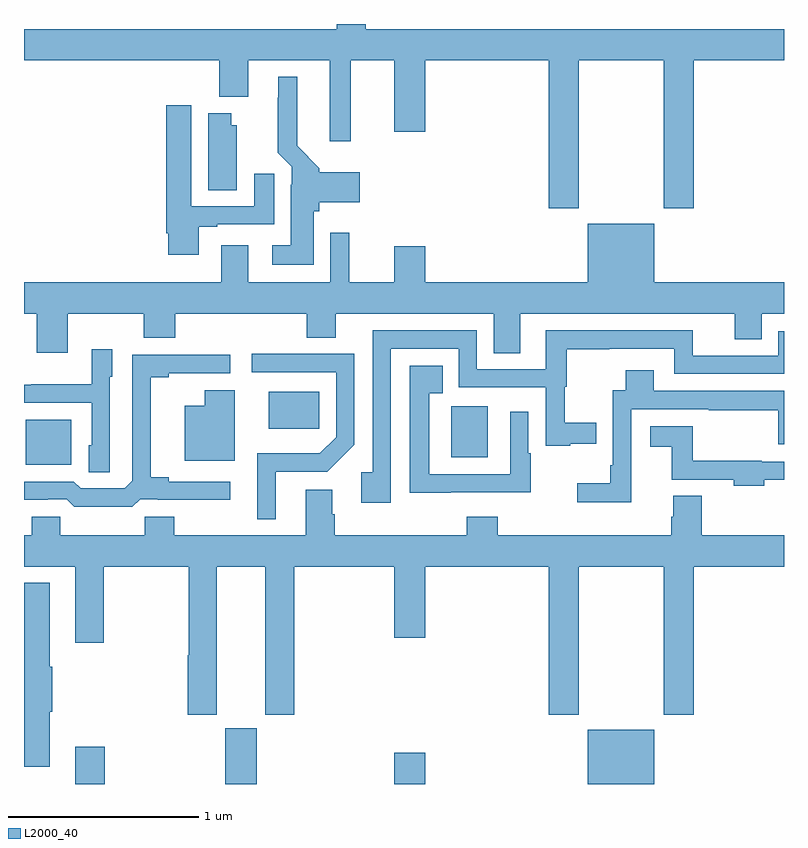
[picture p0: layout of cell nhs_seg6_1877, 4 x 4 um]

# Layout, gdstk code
import gdstk
lib = gdstk.Library(unit=1e-6, precision=1e-09)
def R(c, l, rs):  # rectangles x0, y0, x1, y1
    for r in rs: c.add(gdstk.rectangle(r[:2], r[2:], *l))
def P(c, l, *ps):  # polygons
    for p in ps: c.add(gdstk.Polygon(p, *l))
L2000_40 = (2000, 40)

nhs_seg6_1877 = lib.new_cell('nhs_seg6_1877')
R(nhs_seg6_1877, L2000_40, [(223.271,971.5,223.424,971.695), (224.06,971.5,224.224,971.793), (224.948,971.5,225.112,971.665), (225.968,971.5,226.318,971.785), (223.01,973.181,223.249,973.417), (225.248,973.22,225.442,973.488), (224.288,973.37,224.553,973.564)])
P(nhs_seg6_1877, L2000_40, [(225.921,975.308),(226.366,975.308),(226.366,974.529),(226.526,974.529),(226.526,975.308),(227,975.308),(227,975.472),(224.798,975.472),(224.798,975.5),(224.645,975.5),(224.645,975.472),(223,975.472),(223,975.308),(224.027,975.308),(224.027,975.116),(224.179,975.116),(224.179,975.308),(224.609,975.308),(224.609,974.883),(224.719,974.883),(224.719,975.308),(224.948,975.308),(224.948,974.934),(225.112,974.934),(225.112,975.308),(225.761,975.308),(225.761,974.529),(225.921,974.529)],
  [(224.524,974.514),(224.555,974.514),(224.555,974.561),(224.767,974.561),(224.767,974.719),(224.555,974.719),(224.555,974.742),(224.437,974.86),(224.437,975.223),(224.339,975.223),(224.339,975.113),(224.335,975.113),(224.335,974.822),(224.409,974.748),(224.409,974.654),(224.405,974.654),(224.405,974.335),(224.307,974.335),(224.307,974.234),(224.524,974.234)],
  [(223.921,974.433),(224.017,974.433),(224.017,974.445),(224.317,974.445),(224.317,974.713),(224.213,974.713),(224.213,974.541),(223.879,974.541),(223.879,975.073),(223.748,975.073),(223.748,974.398),(223.76,974.398),(223.76,974.286),(223.921,974.286)],
  [(224.119,974.967),(224.092,974.967),(224.092,975.031),(223.97,975.031),(223.97,974.626),(224.119,974.626)],
  [(225.613,973.976),(226.742,973.976),(226.742,973.84),(226.882,973.84),(226.882,973.976),(227,973.976),(227,974.14),(226.318,974.14),(226.318,974.449),(225.968,974.449),(225.968,974.14),(225.112,974.14),(225.112,974.329),(224.948,974.329),(224.948,974.14),(224.712,974.14),(224.712,974.401),(224.613,974.401),(224.613,974.14),(224.179,974.14),(224.179,974.335),(224.039,974.335),(224.039,974.14),(223,974.14),(223,973.976),(223.067,973.976),(223.067,973.77),(223.231,973.77),(223.231,973.976),(223.631,973.976),(223.631,973.848),(223.795,973.848),(223.795,973.976),(224.489,973.976),(224.489,973.849),(224.641,973.849),(224.641,973.976),(225.473,973.976),(225.473,973.768),(225.613,973.768)],
  [(224.931,973.791),(225.288,973.791),(225.288,973.587),(225.747,973.587),(225.747,973.281),(225.875,973.281),(225.875,973.292),(226.012,973.292),(226.012,973.402),(225.846,973.402),(225.846,973.59),(225.856,973.59),(225.856,973.789),(226.079,973.789),(226.079,973.791),(226.422,973.791),(226.422,973.659),(227,973.659),(227,973.884),(226.971,973.884),(226.971,973.755),(226.521,973.755),(226.521,973.887),(225.746,973.887),(225.746,973.683),(225.384,973.683),(225.384,973.887),(224.835,973.887),(224.835,973.142),(224.775,973.142),(224.775,972.981),(224.931,972.981)],
  [(223.452,973.644),(223.465,973.644),(223.465,973.789),(223.356,973.789),(223.356,973.603),(223.039,973.603),(223.039,973.602),(223,973.602),(223,973.506),(223.356,973.506),(223.356,973.284),(223.34,973.284),(223.34,973.141),(223.452,973.141)],
  [(224.326,973.143),(224.596,973.143),(224.739,973.286),(224.739,973.764),(224.199,973.764),(224.199,973.668),(224.643,973.668),(224.643,973.326),(224.557,973.24),(224.228,973.24),(224.228,972.894),(224.326,972.894)],
  [(223.611,972.999),(223.705,972.999),(223.705,972.995),(224.086,972.995),(224.086,973.092),(223.762,973.092),(223.762,973.115),(223.667,973.115),(223.667,973.642),(223.762,973.642),(223.762,973.662),(224.086,973.662),(224.086,973.758),(223.569,973.758),(223.569,973.095),(223.53,973.056),(223.299,973.056),(223.263,973.092),(223,973.092),(223,972.995),(223.124,972.995),(223.124,972.999),(223.224,972.999),(223.264,972.96),(223.571,972.96)],
  [(225.245,973.035),(225.667,973.035),(225.667,973.242),(225.654,973.242),(225.654,973.459),(225.558,973.459),(225.558,973.131),(225.133,973.131),(225.133,973.556),(225.203,973.556),(225.203,973.702),(225.029,973.702),(225.029,973.033),(225.245,973.033)],
  [(226.196,973.473),(226.603,973.473),(226.603,973.468),(226.971,973.468),(226.971,973.287),(227,973.287),(227,973.569),(226.315,973.569),(226.315,973.678),(226.168,973.678),(226.168,973.572),(226.098,973.572),(226.098,973.177),(226.086,973.177),(226.086,973.082),(225.912,973.082),(225.912,972.983),(226.196,972.983)],
  [(224.11,973.573),(223.952,973.573),(223.952,973.492),(223.847,973.492),(223.847,973.202),(224.11,973.202)],
  [(226.896,973.101),(227,973.101),(227,973.197),(226.884,973.197),(226.884,973.202),(226.519,973.202),(226.519,973.384),(226.296,973.384),(226.296,973.274),(226.409,973.274),(226.409,973.101),(226.736,973.101),(226.736,973.07),(226.896,973.07)],
  [(224.014,972.644),(224.27,972.644),(224.27,971.865),(224.423,971.865),(224.423,972.644),(224.948,972.644),(224.948,972.27),(225.112,972.27),(225.112,972.644),(225.761,972.644),(225.761,971.865),(225.921,971.865),(225.921,972.644),(226.366,972.644),(226.366,971.865),(226.526,971.865),(226.526,972.644),(227,972.644),(227,972.808),(226.566,972.808),(226.566,973.016),(226.418,973.016),(226.418,972.906),(226.406,972.906),(226.406,972.808),(225.494,972.808),(225.494,972.907),(225.329,972.907),(225.329,972.808),(224.636,972.808),(224.636,972.92),(224.623,972.92),(224.623,973.048),(224.483,973.048),(224.483,972.808),(223.791,972.808),(223.791,972.906),(223.636,972.906),(223.636,972.808),(223.191,972.808),(223.191,972.906),(223.04,972.906),(223.04,972.808),(223,972.808),(223,972.644),(223.271,972.644),(223.271,972.243),(223.419,972.243),(223.419,972.644),(223.867,972.644),(223.867,972.177),(223.862,972.177),(223.862,971.865),(224.014,971.865)],
  [(223.135,971.88),(223.148,971.88),(223.148,972.117),(223.135,972.117),(223.135,972.559),(223,972.559),(223,971.592),(223.135,971.592)])

lib.write_gds('nhs_seg6_1877.gds')
